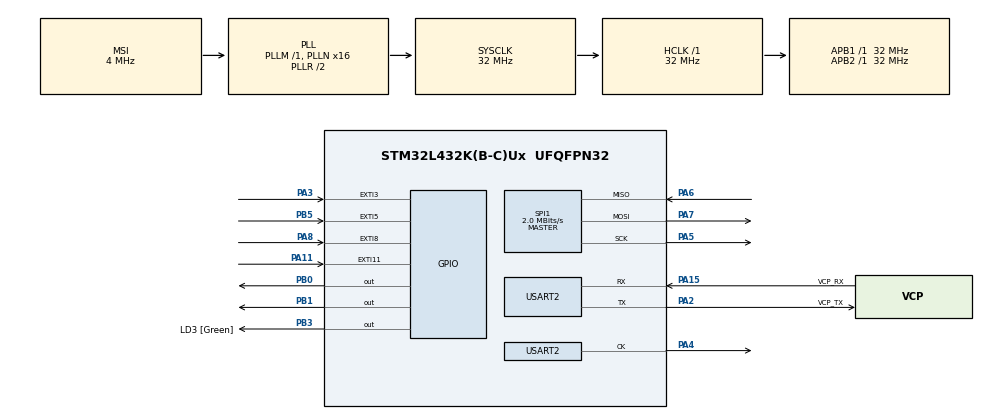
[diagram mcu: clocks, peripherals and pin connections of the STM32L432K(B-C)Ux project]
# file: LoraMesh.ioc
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Mcu.Family=STM32L4
Mcu.Name=STM32L432K(B-C)Ux
Mcu.Package=UFQFPN32
NVIC.PriorityGroup=NVIC_PRIORITYGROUP_4
NVIC.SPI1_IRQn=true\:0\:0\:false\:false\:true\:true\:true\:true
NVIC.USART2_IRQn=true\:0\:0\:false\:false\:true\:true\:true\:true
PA0.GPIO_Label=MCO [High speed clock in]
PA0.Mode=HSE-External-Clock-Source-for-LittleOrca
PA0.Signal=RCC_CK_IN
PA11.Signal=GPXTI11
PA13\ (JTMS-SWDIO).GPIO_Label=SWDIO
PA13\ (JTMS-SWDIO).Mode=Serial_Wire
PA13\ (JTMS-SWDIO).Signal=SYS_JTMS-SWDIO
PA14\ (JTCK-SWCLK).GPIO_Label=SWCLK
PA14\ (JTCK-SWCLK).Mode=Serial_Wire
PA14\ (JTCK-SWCLK).Signal=SYS_JTCK-SWCLK
PA15\ (JTDI).GPIO_Label=VCP_RX
PA15\ (JTDI).Mode=Synchronous
PA15\ (JTDI).Signal=USART2_RX
PA2.GPIO_Label=VCP_TX
PA2.Mode=Synchronous
PA2.Signal=USART2_TX
PA3.Signal=GPXTI3
PA4.Mode=Synchronous
PA4.Signal=USART2_CK
PA5.Mode=Full_Duplex_Master
PA5.Signal=SPI1_SCK
PA6.Mode=Full_Duplex_Master
PA6.Signal=SPI1_MISO
PA7.Mode=Full_Duplex_Master
PA7.Signal=SPI1_MOSI
PA8.Signal=GPXTI8
PB0.PinState=GPIO_PIN_SET
PB0.Signal=GPIO_Output
PB1.Signal=GPIO_Output
PB3\ (JTDO-TRACESWO).GPIO_Label=LD3 [Green]
PB3\ (JTDO-TRACESWO).Signal=GPIO_Output
PB5.Signal=GPXTI5
PC14-OSC32_IN\ (PC14).Mode=LSE-External-Oscillator
PC14-OSC32_IN\ (PC14).Signal=RCC_OSC32_IN
PC15-OSC32_OUT\ (PC15).Mode=LSE-External-Oscillator
PC15-OSC32_OUT\ (PC15).Signal=RCC_OSC32_OUT
ProjectManager.HeapSize=0x200
ProjectManager.StackSize=0x400
ProjectManager.TargetToolchain=STM32CubeIDE
RCC.AHBFreq_Value=32000000
RCC.APB1Freq_Value=32000000
RCC.APB1TimFreq_Value=32000000
RCC.APB2Freq_Value=32000000
RCC.APB2TimFreq_Value=32000000
RCC.CortexFreq_Value=32000000
RCC.HCLKFreq_Value=32000000
RCC.HSE_VALUE=8000000
RCC.HSI16_VALUE=16000000
RCC.HSI48_VALUE=48000000
RCC.HSI_VALUE=16000000
RCC.MSI_VALUE=4000000
RCC.PLLMUL=RCC_PLLMUL_4
RCC.PLLN=16
RCC.SYSCLKFreq_VALUE=32000000
RCC.SYSCLKSource=RCC_SYSCLKSOURCE_PLLCLK
RCC.VCOOutputFreq_Value=64000000
SPI1.BaudRatePrescaler=SPI_BAUDRATEPRESCALER_16
SPI1.CalculateBaudRate=2.0 MBits/s
SPI1.DataSize=SPI_DATASIZE_8BIT
SPI1.Direction=SPI_DIRECTION_2LINES
SPI1.Mode=SPI_MODE_MASTER
SPI1.VirtualType=VM_MASTER
USART2.VirtualMode-Synchronous=VM_SYNC
board=NUCLEO-L432KC

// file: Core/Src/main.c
/* USER CODE BEGIN Header */
/**
  ******************************************************************************
  * @file           : main.c
  * @brief          : Main program body
  ******************************************************************************
  * @attention
  *
  * Copyright (c) 2024 STMicroelectronics.
  * All rights reserved.
  *
  * This software is licensed under terms that can be found in the LICENSE file
  * in the root directory of this software component.
  * If no LICENSE file comes with this software, it is provided AS-IS.
  *
  ******************************************************************************
  */
/* USER CODE END Header */
#include "main.h"

/* USER CODE BEGIN Includes */
#include "lora_sx1276.h"
#include "packets.h"

/* USER CODE END Includes */

/* USER CODE BEGIN PD */
//#define ADDRESS 0x01  // Address for gateway
//#define ADDRESS 0x02	//Address for node 1
//#define ADDRESS 0x03	//Address for node 2
#define ADDRESS 0x04	//Address for node 3
//#define RX
//#define TX
/* USER CODE END PD */

SPI_HandleTypeDef hspi1;

USART_HandleTypeDef husart2;

/* USER CODE BEGIN PV */
uint8_t buffer[32];
uint8_t res;
uint8_t tx_data[] = {1, 25, 45, 100};
uint8_t tx_data_2[] = {1, 30, 25, 80};
uint8_t tx_data_3[] = {1, 14, 20, 40};
uint8_t rx_done = 0;
uint8_t tx_done = 0;
char msg[200];
lora_sx1276 lora;

/* USER CODE END PV */

void SystemClock_Config(void);
static void MX_GPIO_Init(void);
static void MX_SPI1_Init(void);
static void MX_USART2_Init(void);

int main(void)
{

  /* MCU Configuration--------------------------------------------------------*/

  /* Reset of all peripherals, Initializes the Flash interface and the Systick. */
  HAL_Init();

  /* Configure the system clock */
  SystemClock_Config();

  /* Initialize all configured peripherals */
  MX_GPIO_Init();
  MX_SPI1_Init();
  MX_USART2_Init();
  /* USER CODE BEGIN 2 */

 /* lora.spi = &hspi1;
  lora.nss_port = GPIOB;
  lora.nss_pin = GPIO_PIN_0;
  lora.rst_port = GPIOB;
  lora.rst_pin = GPIO_PIN_1;
  lora.dio0_port = GPIOA;
  lora.dio0_pin = GPIO_PIN_3;*/

  HAL_GPIO_WritePin(GPIOB, GPIO_PIN_1, GPIO_PIN_RESET);  //activate CS
  HAL_Delay(10);
  HAL_GPIO_WritePin(GPIOB, GPIO_PIN_1, GPIO_PIN_SET);  //deactivate CS
  HAL_Delay(100);

  // SX1276 compatible module connected to SPI1, NSS pin connected to GPIO with label LORA_NSS
   uint8_t init = lora_init(&lora, &hspi1, GPIOB, GPIO_PIN_0, LORA_BASE_FREQUENCY_US);
   if (init != LORA_OK) {
     // Initialization failed
   }
   else
   {
	   HAL_GPIO_WritePin(GPIOB, LD3_Pin, GPIO_PIN_SET);
   }

  /* USER CODE END 2 */

  /* Infinite loop */
  /* USER CODE BEGIN WHILE */
  while (1)
  {
	  //send_packet(&lora, tx_data_2, 4);

	lora_mode_receive_continuous(&lora);
	  // Wait for packet up to 10sec
	  uint8_t len = lora_receive_packet_blocking(&lora, buffer, sizeof(buffer), 10000, &res);
	  if (res != LORA_OK)
	  {}
	  buffer[len] = 0;  // null terminate string to print it
	  if (len > 0)
	  {
		  // Handle received packet
		  handle_received_packet(&lora, buffer, len, ADDRESS);
	  }

	  #ifdef TX
	  res = lora_send_packet(&lora, tx_data, 4);
	  for(int i=0; i< 4; i++)
	  	  {
	  		  snprintf(msg, sizeof(msg), "Tx: %d \r\n", tx_data[i]);
	  		  HAL_USART_Transmit(&husart2, (uint8_t*)msg, strlen(msg), 200);
	  		  HAL_Delay(1000);
	  	  }
	  if (res != LORA_OK)
	  {
	      // Send failed
	  }
	  #endif
	  #ifdef RX
	  // Put LoRa modem into continuous receive mode
	  lora_mode_receive_continuous(&lora);
	  // Wait for packet up to 10sec
	  uint8_t len = lora_receive_packet_blocking(&lora, buffer, sizeof(buffer), 10000, &res);
	  if (res != LORA_OK)
	  {
	      // Receive failed
	  }
	  //HAL_GPIO_WritePin(GPIOB, LD3_Pin, GPIO_PIN_RESET);
	  buffer[len] = 0;  // null terminate string to print it
	  for(int i=0; i< len; i++)
	  {
		  snprintf(msg, sizeof(msg), "Rx: %d \r\n", buffer[i]);
		  HAL_USART_Transmit(&husart2, (uint8_t*)msg, strlen(msg), 200);
		  HAL_Delay(1000);
	  }

	  uint8_t rssi =  lora_packet_rssi(&lora);
	  snprintf(msg, sizeof(msg), "RSSI: %d \r\n", rssi);
	  HAL_USART_Transmit(&husart2, (uint8_t*)msg, strlen(msg), 200);
	  HAL_Delay(1000);

	  uint8_t snr = lora_packet_snr(&lora);
	  snprintf(msg, sizeof(msg), "SNR %d \r\n", snr);
	  HAL_USART_Transmit(&husart2, (uint8_t*)msg, strlen(msg), 200);
	  HAL_Delay(1000);

	  #endif

    /* USER CODE END WHILE */

  }
}

void SystemClock_Config(void)
{
  RCC_OscInitTypeDef RCC_OscInitStruct = {0};
  RCC_ClkInitTypeDef RCC_ClkInitStruct = {0};

  /** Configure the main internal regulator output voltage
  */
  if (HAL_PWREx_ControlVoltageScaling(PWR_REGULATOR_VOLTAGE_SCALE1) != HAL_OK)
  {
    Error_Handler();
  }

  /** Configure LSE Drive Capability
  */
  HAL_PWR_EnableBkUpAccess();
  __HAL_RCC_LSEDRIVE_CONFIG(RCC_LSEDRIVE_LOW);

  /** Initializes the RCC Oscillators according to the specified parameters
  * in the RCC_OscInitTypeDef structure.
  */
  RCC_OscInitStruct.OscillatorType = RCC_OSCILLATORTYPE_LSE|RCC_OSCILLATORTYPE_MSI;
  RCC_OscInitStruct.LSEState = RCC_LSE_ON;
  RCC_OscInitStruct.MSIState = RCC_MSI_ON;
  RCC_OscInitStruct.MSICalibrationValue = 0;
  RCC_OscInitStruct.MSIClockRange = RCC_MSIRANGE_6;
  RCC_OscInitStruct.PLL.PLLState = RCC_PLL_ON;
  RCC_OscInitStruct.PLL.PLLSource = RCC_PLLSOURCE_MSI;
  RCC_OscInitStruct.PLL.PLLM = 1;
  RCC_OscInitStruct.PLL.PLLN = 16;
  RCC_OscInitStruct.PLL.PLLP = RCC_PLLP_DIV7;
  RCC_OscInitStruct.PLL.PLLQ = RCC_PLLQ_DIV2;
  RCC_OscInitStruct.PLL.PLLR = RCC_PLLR_DIV2;
  if (HAL_RCC_OscConfig(&RCC_OscInitStruct) != HAL_OK)
  {
    Error_Handler();
  }

  /** Initializes the CPU, AHB and APB buses clocks
  */
  RCC_ClkInitStruct.ClockType = RCC_CLOCKTYPE_HCLK|RCC_CLOCKTYPE_SYSCLK
                              |RCC_CLOCKTYPE_PCLK1|RCC_CLOCKTYPE_PCLK2;
  RCC_ClkInitStruct.SYSCLKSource = RCC_SYSCLKSOURCE_PLLCLK;
  RCC_ClkInitStruct.AHBCLKDivider = RCC_SYSCLK_DIV1;
  RCC_ClkInitStruct.APB1CLKDivider = RCC_HCLK_DIV1;
  RCC_ClkInitStruct.APB2CLKDivider = RCC_HCLK_DIV1;

  if (HAL_RCC_ClockConfig(&RCC_ClkInitStruct, FLASH_LATENCY_1) != HAL_OK)
  {
    Error_Handler();
  }

  /** Enable MSI Auto calibration
  */
  HAL_RCCEx_EnableMSIPLLMode();
}

static void MX_SPI1_Init(void)
{

  /* SPI1 parameter configuration*/
  hspi1.Instance = SPI1;
  hspi1.Init.Mode = SPI_MODE_MASTER;
  hspi1.Init.Direction = SPI_DIRECTION_2LINES;
  hspi1.Init.DataSize = SPI_DATASIZE_8BIT;
  hspi1.Init.CLKPolarity = SPI_POLARITY_LOW;
  hspi1.Init.CLKPhase = SPI_PHASE_1EDGE;
  hspi1.Init.NSS = SPI_NSS_SOFT;
  hspi1.Init.BaudRatePrescaler = SPI_BAUDRATEPRESCALER_16;
  hspi1.Init.FirstBit = SPI_FIRSTBIT_MSB;
  hspi1.Init.TIMode = SPI_TIMODE_DISABLE;
  hspi1.Init.CRCCalculation = SPI_CRCCALCULATION_DISABLE;
  hspi1.Init.CRCPolynomial = 7;
  hspi1.Init.CRCLength = SPI_CRC_LENGTH_DATASIZE;
  hspi1.Init.NSSPMode = SPI_NSS_PULSE_ENABLE;
  if (HAL_SPI_Init(&hspi1) != HAL_OK)
  {
    Error_Handler();
  }

}

static void MX_USART2_Init(void)
{

  husart2.Instance = USART2;
  husart2.Init.BaudRate = 115200;
  husart2.Init.WordLength = USART_WORDLENGTH_8B;
  husart2.Init.StopBits = USART_STOPBITS_1;
  husart2.Init.Parity = USART_PARITY_NONE;
  husart2.Init.Mode = USART_MODE_TX_RX;
  husart2.Init.CLKPolarity = USART_POLARITY_LOW;
  husart2.Init.CLKPhase = USART_PHASE_1EDGE;
  husart2.Init.CLKLastBit = USART_LASTBIT_DISABLE;
  if (HAL_USART_Init(&husart2) != HAL_OK)
  {
    Error_Handler();
  }

}

static void MX_GPIO_Init(void)
{
  GPIO_InitTypeDef GPIO_InitStruct = {0};

  /* GPIO Ports Clock Enable */
  __HAL_RCC_GPIOC_CLK_ENABLE();
  __HAL_RCC_GPIOA_CLK_ENABLE();
  __HAL_RCC_GPIOB_CLK_ENABLE();

  /*Configure GPIO pin Output Level */
  HAL_GPIO_WritePin(GPIOB, GPIO_PIN_0, GPIO_PIN_SET);

  /*Configure GPIO pin Output Level */
  HAL_GPIO_WritePin(GPIOB, GPIO_PIN_1|LD3_Pin, GPIO_PIN_RESET);

  /*Configure GPIO pins : PA3 PA8 PA11 */
  GPIO_InitStruct.Pin = GPIO_PIN_3|GPIO_PIN_8|GPIO_PIN_11;
  GPIO_InitStruct.Mode = GPIO_MODE_IT_RISING;
  GPIO_InitStruct.Pull = GPIO_NOPULL;
  HAL_GPIO_Init(GPIOA, &GPIO_InitStruct);

  /*Configure GPIO pins : PB0 PB1 LD3_Pin */
  GPIO_InitStruct.Pin = GPIO_PIN_0|GPIO_PIN_1|LD3_Pin;
  GPIO_InitStruct.Mode = GPIO_MODE_OUTPUT_PP;
  GPIO_InitStruct.Pull = GPIO_NOPULL;
  GPIO_InitStruct.Speed = GPIO_SPEED_FREQ_LOW;
  HAL_GPIO_Init(GPIOB, &GPIO_InitStruct);

  /*Configure GPIO pin : PB5 */
  GPIO_InitStruct.Pin = GPIO_PIN_5;
  GPIO_InitStruct.Mode = GPIO_MODE_IT_RISING;
  GPIO_InitStruct.Pull = GPIO_NOPULL;
  HAL_GPIO_Init(GPIOB, &GPIO_InitStruct);

/* USER CODE BEGIN MX_GPIO_Init_2 */
 // HAL_NVIC_SetPriority(EXTI3_IRQn, 0, 0);
  //HAL_NVIC_EnableIRQ(EXTI3_IRQn);

  //HAL_NVIC_SetPriority(EXTI9_5_IRQn, 0, 0);
  //HAL_NVIC_EnableIRQ(EXTI9_5_IRQn);
/* USER CODE END MX_GPIO_Init_2 */
}

/* USER CODE BEGIN 4 */
/*
void HAL_GPIO_EXTI_Callback(uint16_t GPIO_Pin){
	if(GPIO_Pin == GPIO_PIN_3)
	{
		//uint8_t reg_cur;
		// Read DIO register, check for RX_DONE flag
		if((read_register(&lora, 0x40)) == 0x00)
		{
			rx_done = 1;
		}
		// Read DIO register, check for TX_DONE flag
		else if((read_register(&lora, 0x40)) == 0x40)
		{
			tx_done = 1;
		}
	}
}*/

/* USER CODE END 4 */

void Error_Handler(void)
{
  __disable_irq();
  while (1)
  {
  }
}
